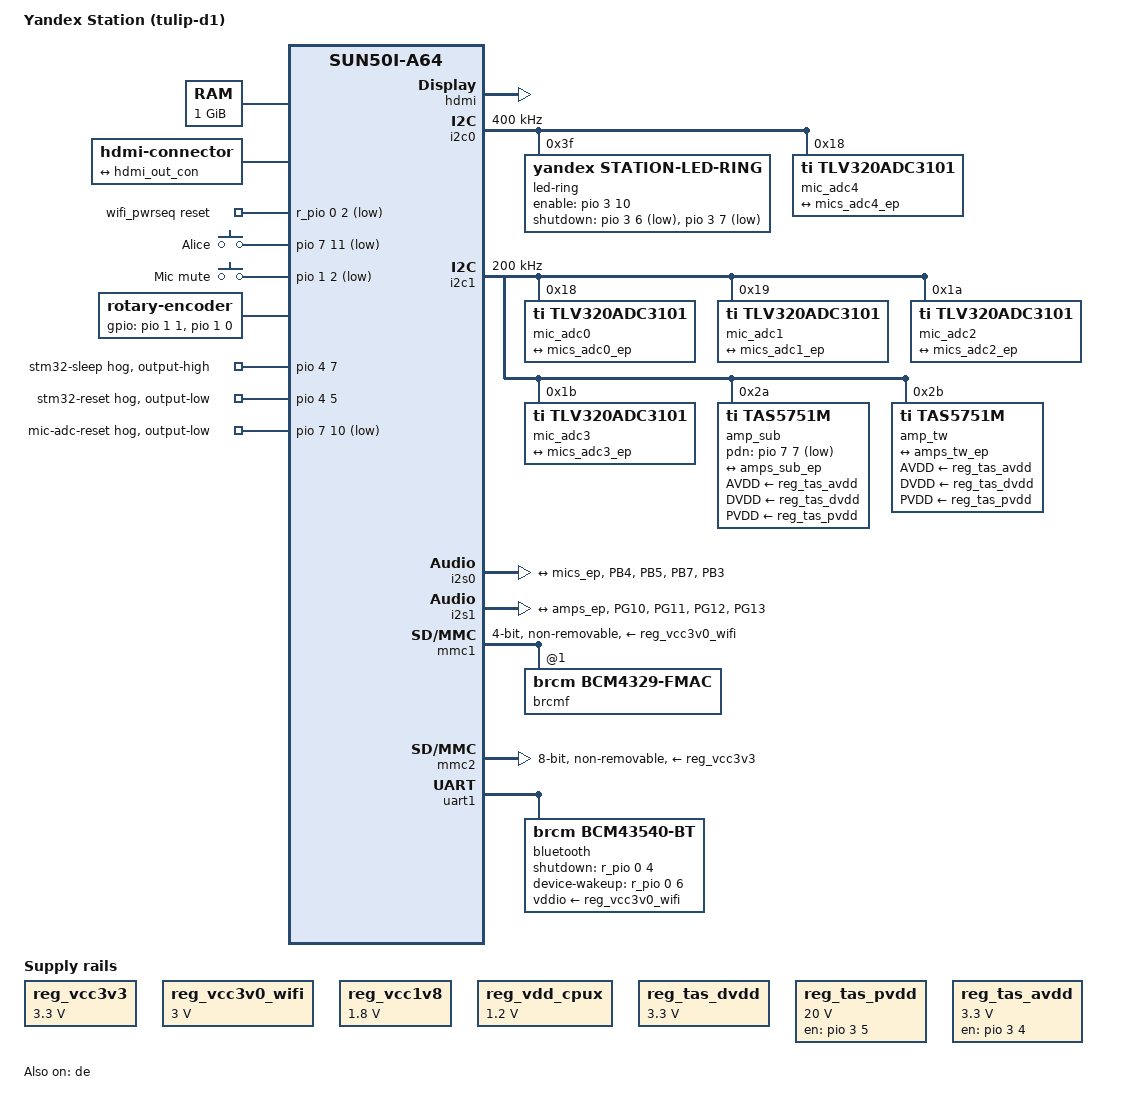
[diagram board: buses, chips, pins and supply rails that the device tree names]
// SPDX-License-Identifier: (GPL-2.0+ OR MIT)
/*
 * Yandex Station (tulip-d1), Allwinner A64.
 * Bring-up stage A: eMMC only. The PMIC is deliberately not described, so the
 * kernel never touches the voltages vendor U-Boot has set up.
 *
 * wf2 integration: the track DTS pieces (rtc, cpufreq, wifi, bluetooth,
 * leds-keys, audio, pmic, quasar-compat) merged on top of station-e1.dts.
 * Every piece is behind a WF2_* switch so the lead can build the test
 * batches of wf2/PLAN.md from this one file (wf2/integ/mkvariants.sh).
 * Pieces that need the wf2 Image (rtc-sun6i built in) are marked.
 */
/dts-v1/;

#include "sun50i-a64.dtsi"

#include <dt-bindings/gpio/gpio.h>
#include <dt-bindings/input/input.h>
#include <dt-bindings/interrupt-controller/irq.h>
#include <dt-bindings/sound/tlv320adc3xxx.h>

/* ---- switches (defaults = PLAN.md batch "full") ---- */
#ifndef WF2_SMP
#define WF2_SMP		0	/* 0: maxcpus=1 in bootargs (first SCP-channel tests) */
#endif
#ifndef WF2_RTC
#define WF2_RTC		1	/* needs the wf2 Image (RTC_DRV_SUN6I=y) */
#endif
#ifndef WF2_THERMAL
#define WF2_THERMAL	1
#endif
#ifndef WF2_CPUFREQ
#define WF2_CPUFREQ	1	/* 0 none, 1 cpufreq-dt at fixed 1.20 V, 2 SCP DVFS node */
#endif
#ifndef WF2_WIFI
#define WF2_WIFI	0	/* 0 E1 (HS 50 MHz), 2 SDR50 100, 3 SDR104 100, 4 SDR104 150 */
#endif
#ifndef WF2_WIFI_PHASE
#define WF2_WIFI_PHASE	0	/* 0 = driver default; 90/180/270 needs wifi patch 0001 */
#endif
#ifndef WF2_WIFI_ID
#define WF2_WIFI_ID	1	/* MAC + RU/261 ccode-map */
#endif
#ifndef WF2_WIFI_OOB
#define WF2_WIFI_OOB	0
#endif
#ifndef WF2_BT
#define WF2_BT		2	/* 0 none, 1 tty + rfkill (Quasar), 2 serdev no LPM, 3 serdev LPM */
#endif
#ifndef WF2_BT_LPO
#define WF2_BT_LPO	0	/* RTC LOSC_OUT as BT LPO, needs WF2_RTC */
#endif
#ifndef WF2_LEDS_KEYS
#define WF2_LEDS_KEYS	1
#endif
#ifndef WF2_AUDIO
#define WF2_AUDIO	1
#endif
#ifndef WF2_PMIC
#define WF2_PMIC	1	/* 0 none, 1 node + always-on rails, no consumers (pmic1) */
#endif
#ifndef WF2_QUASAR
#define WF2_QUASAR	0	/* 1: /firmware/android node (Quasar-mode DTB) */
#endif

#if WF2_BT_LPO && !WF2_RTC
#error "WF2_BT_LPO needs WF2_RTC"
#endif
#if WF2_WIFI_OOB && !WF2_WIFI_ID
#error "WF2_WIFI_OOB is written on top of WF2_WIFI_ID"
#endif

/ {
	model = "Yandex Station (tulip-d1)";
	compatible = "yandex,station-tulip-d1", "allwinner,sun50i-a64";

	aliases {
		mmc0 = &mmc2;
		/* vendor bus numbers: Quasar maind opens /dev/i2c-0, monitord /dev/i2c-1 */
		i2c0 = &i2c0;
		i2c1 = &i2c1;
#if WF2_BT
		serial1 = &uart1;
#endif
	};

	/*
	 * Console goes to HDMI (fbcon); UART is not reachable and its pins may be
	 * wired to something else. clk_ignore_unused keeps clocks the vendor
	 * ATF/SCP rely on (bus-msgbox and bus-spinlock have no Linux consumer).
	 * maxcpus=1 stays for the batches that call the synchronous SCP channel
	 * for the first time: with one CPU a hang in EL3 stops every feeder of
	 * the WDT (watchdogd feeds it before userspace, HANDLE_BOOT_ENABLED=y).
	 * watchdog.stop_on_reboot=0 keeps the WDT running across kexec, so a
	 * kexec'd kernel that hangs still falls back to Android.
	 * hw_protection=reboot: a critical thermal trip resets through the WDT
	 * instead of PSCI SYSTEM_OFF (unsafe on this board, E2).
	 */
	/*
	 * selinux=0 for Debian: SELinux is built in only for the Quasar mode
	 * (WF2_QUASAR), whose Android userspace loads its own policy. dtc does
	 * not concatenate adjacent strings, so every combination is spelled out.
	 */
	chosen {
#if WF2_SMP && WF2_QUASAR
		bootargs = "console=tty0 consoleblank=0 fbcon=font:TER16x32 video=HDMI-A-1:1920x1080@60 panic=5 loglevel=7 clk_ignore_unused hw_protection=reboot watchdog.stop_on_reboot=0 rdinit=/init";
#elif WF2_SMP
		bootargs = "console=tty0 consoleblank=0 fbcon=font:TER16x32 video=HDMI-A-1:1920x1080@60 panic=5 loglevel=7 clk_ignore_unused hw_protection=reboot watchdog.stop_on_reboot=0 selinux=0 rdinit=/init";
#elif WF2_QUASAR
		bootargs = "console=tty0 consoleblank=0 fbcon=font:TER16x32 video=HDMI-A-1:1920x1080@60 panic=5 loglevel=7 clk_ignore_unused maxcpus=1 hw_protection=reboot watchdog.stop_on_reboot=0 rdinit=/init";
#else
		bootargs = "console=tty0 consoleblank=0 fbcon=font:TER16x32 video=HDMI-A-1:1920x1080@60 panic=5 loglevel=7 clk_ignore_unused maxcpus=1 hw_protection=reboot watchdog.stop_on_reboot=0 selinux=0 rdinit=/init";
#endif
	};

#if WF2_QUASAR
	/*
	 * Android 6 init (Allwinner build of AOSP M) turns every property here
	 * into ro.boot.<name>, like androidboot.<name>= on the cmdline. Our shim
	 * replaces the vendor FDT (and with it U-Boot's androidboot.hardware=),
	 * so the Quasar/Android ramdisk would not find init.sun50iw1p1.rc
	 * without it. No kernel driver binds to this node. (quasar-compat)
	 */
	firmware {
		android {
			compatible = "android,firmware";
			hardware = "sun50iw1p1";
		};
	};
#endif

	memory@40000000 {
		device_type = "memory";
		reg = <0x40000000 0x40000000>;
	};

	reserved-memory {
		#address-cells = <1>;
		#size-cells = <1>;
		ranges;

		/* vendor ATF (BL31 "monitor", PSCI provider) lives below the kernel */
		bl31@40000000 {
			reg = <0x40000000 0x80000>;
			no-map;
		};

		/* /memreserve/ in the vendor DTB: memory shared with ATF/SCP */
		vendor@48000000 {
			reg = <0x48000000 0x1000000>;
			no-map;
		};

		/* the shim leaves its PMIC (RSB) results here; own 2 MiB block */
		shimlog@4e400000 {
			reg = <0x4e400000 0x1000>;
			no-map;
		};
	};

	hdmi-connector {
		compatible = "hdmi-connector";
		type = "a";

		port {
			hdmi_con_in: endpoint {
				remote-endpoint = <&hdmi_out_con>;
			};
		};
	};

	/*
	 * AP6356S WL_REG_ON, same wiring as the A64 Pinebook. With the RTC
	 * driver the module's 32 kHz LPO (RTC LOSC output, vendor wlan
	 * clocks = "losc_out", as on the BananaPi M64) is held here, so the gate
	 * stays open while the card is powered. (rtc)
	 */
	wifi_pwrseq: wifi-pwrseq {
		compatible = "mmc-pwrseq-simple";
		reset-gpios = <&r_pio 0 2 GPIO_ACTIVE_LOW>; /* PL2 */
#if WF2_RTC
		clocks = <&rtc CLK_OSC32K_FANOUT>;
		clock-names = "ext_clock";
#endif
		post-power-on-delay-ms = <200>;
	};

	/* placeholders only: no PMIC access */
	reg_vcc3v3: vcc3v3 {
		compatible = "regulator-fixed";
		regulator-name = "vcc3v3";
		regulator-min-microvolt = <3300000>;
		regulator-max-microvolt = <3300000>;
		regulator-always-on;
	};

	/* AXP803 DLDO4: Wi-Fi VDDIO and port G, 3.0 V from the vendor boot */
	reg_vcc3v0_wifi: vcc3v0-wifi {
		compatible = "regulator-fixed";
		regulator-name = "vcc3v0-wifi";
		regulator-min-microvolt = <3000000>;
		regulator-max-microvolt = <3000000>;
		regulator-always-on;
	};

	reg_vcc1v8: vcc1v8 {
		compatible = "regulator-fixed";
		regulator-name = "vcc1v8";
		regulator-min-microvolt = <1800000>;
		regulator-max-microvolt = <1800000>;
		regulator-always-on;
	};

#if WF2_WIFI >= 2
	/*
	 * NOT a real rail: the SDIO "1.8 V signalling" level as seen by the
	 * MMC core. Port G and the AP6356S VDDIO both stay on DLDO4 at 3.0 V,
	 * exactly like the vendor kernel (no vqmmc for sdc1, its driver logs
	 * "no vqmmc,Check if there is regulator" and lets UHS go on with
	 * dldo4 = 3.0 V, sdmmc1_mod 300 MHz = 150 MHz SDR104). It only lets
	 * the core finish CMD11 and select SDR50/SDR104. Never replace it with
	 * the real DLDO4 regulator (pmic stage 3a): the core would then drop
	 * port G (UART1 BT, I2S1, SDIO) and the module VDDIO to 1.8 V. (wifi)
	 */
	reg_vqmmc_wifi: vqmmc-wifi-virtual {
		compatible = "regulator-fixed";
		regulator-name = "vqmmc-wifi-virtual";
		regulator-min-microvolt = <1800000>;
		regulator-max-microvolt = <1800000>;
		vin-supply = <&reg_vcc3v0_wifi>;
		regulator-always-on;
	};
#endif

#if WF2_CPUFREQ == 1
	/*
	 * cpufreq stage 1: cpufreq-dt + mainline CCU (PLL_CPUX), no PMIC access.
	 * vdd-cpux is AXP803 DCDC2, owned by the vendor SCP; vendor U-Boot leaves
	 * it at 1.20 V (raw 0x21 = 0xc6, shim log). It is described as a fixed
	 * 1.20 V placeholder, so nothing is ever written to the PMIC. Every OPP
	 * carries <vendor-voltage vendor-voltage 1.30 V>: the OPP core disables
	 * an OPP whose range does not contain the fixed 1.20 V
	 * (drivers/opp/core.c:2093, drivers/regulator/core.c:3519-3523).
	 * Only vendor frequency points (vendor DTB cpufreq_tbl). (cpufreq)
	 * Never boot this after the SCP DVFS kernel (WF2_CPUFREQ 2) without a
	 * WDT reset in between, unless that kernel left 1008 MHz / 1.20 V.
	 */
	reg_vdd_cpux: vdd-cpux {
		compatible = "regulator-fixed";
		regulator-name = "vdd-cpux";
		regulator-min-microvolt = <1200000>;
		regulator-max-microvolt = <1200000>;
		regulator-always-on;
	};

	cpu_opp_table: opp-table-cpu {
		compatible = "operating-points-v2";
		opp-shared;

		opp-480000000 {
			opp-hz = /bits/ 64 <480000000>;
			opp-microvolt = <1040000 1040000 1300000>;
			clock-latency-ns = <244144>; /* 8 32k periods */
		};

		opp-600000000 {
			opp-hz = /bits/ 64 <600000000>;
			opp-microvolt = <1040000 1040000 1300000>;
			clock-latency-ns = <244144>;
		};

		opp-720000000 {
			opp-hz = /bits/ 64 <720000000>;
			opp-microvolt = <1100000 1100000 1300000>;
			clock-latency-ns = <244144>;
		};

		opp-816000000 {
			opp-hz = /bits/ 64 <816000000>;
			opp-microvolt = <1100000 1100000 1300000>;
			clock-latency-ns = <244144>;
		};

		opp-1008000000 {
			opp-hz = /bits/ 64 <1008000000>;
			opp-microvolt = <1200000 1200000 1300000>;
			clock-latency-ns = <244144>;
		};
	};
#elif WF2_CPUFREQ == 2
	/*
	 * cpufreq stage 2: DVFS by the vendor SCP (sun50i-a64-scp-cpufreq
	 * module), as the vendor 3.10 kernel does it (SMC 0xc0000030). No
	 * operating-points-v2 here, so cpufreq-dt does not bind. (cpufreq)
	 */
	scp-dvfs {
		compatible = "allwinner,sun50i-a64-scp-dvfs";
		allwinner,ccu = <&ccu>;
	};
#endif

#if WF2_BT == 1
	/* BT_REG_ON as an rfkill switch for a userspace BT stack on /dev/ttyS1 */
	rfkill-bt {
		compatible = "rfkill-gpio";
		label = "bt_reg_on";
		radio-type = "bluetooth";
		shutdown-gpios = <&r_pio 0 4 GPIO_ACTIVE_HIGH>; /* PL4 */
		default-blocked;
	};
#endif

#if WF2_LEDS_KEYS
	/*
	 * Alice button and mic mute state. Vendor Android reads these pins
	 * through /sys/class/gpio (rc.local exports 235 and 34); while this
	 * driver is bound that export fails with EBUSY. (leds-keys)
	 * PB2 polarity measured under Android (HARDWARE.md): 1 = mics on,
	 * 0 = muted, so SW_MUTE_DEVICE (1 = muted) is active low.
	 */
	gpio-keys {
		compatible = "gpio-keys";

		key-alice {
			label = "Alice";
			gpios = <&pio 7 11 GPIO_ACTIVE_LOW>; /* PH11 */
			linux,code = <KEY_ASSISTANT>;
			debounce-interval = <20>;
		};

		/* TLV_MIC_EN_DET: output of the hardware mute flip-flop */
		switch-mic-mute {
			label = "Mic mute";
			gpios = <&pio 1 2 GPIO_ACTIVE_LOW>; /* PB2 */
			linux,input-type = <EV_SW>;
			linux,code = <SW_MUTE_DEVICE>;
			debounce-interval = <20>;
		};
	};

	/* volume ring: INCREAS_CODE_KEY_1 (PB1) = A, INCREAS_CODE_KEY_2 (PB0) = B */
	rotary-encoder {
		compatible = "rotary-encoder";
		gpios = <&pio 1 1 GPIO_ACTIVE_HIGH>, <&pio 1 0 GPIO_ACTIVE_HIGH>;
		linux,axis = <REL_DIAL>;
		rotary-encoder,relative-axis;
		rotary-encoder,encoding = "gray";
		rotary-encoder,steps-per-period = <4>;
	};
#endif

#if WF2_PMIC
	/*
	 * AXP803 behind the vendor BL31: SMC 0x8000ff12/13 -> SCP -> R_RSB
	 * (driver axp20x-atf, module). No interrupt: the PMIC IRQ belongs to the
	 * SCP. The rails are described, consumers still use the fixed
	 * placeholders above (pmic stage 1; stages 3a/3b are NOT merged: 3a
	 * would put the real DLDO4 into the Wi-Fi vqmmc). (pmic)
	 */
	axp803: pmic {
		compatible = "allwinner,sun50i-a64-atf-axp803";

		/*
		 * Every rail that is on after the vendor boot, pinned to the
		 * voltage it already has and always-on: registering it reads the
		 * enable bit and the selector and writes nothing. Check the values
		 * against the axp803-atf-peek snapshot before loading the driver.
		 */
		regulators {
			/* must match reg 0x3b[3:0]: 1800 + 150 * n kHz (n = 8) */
			x-powers,dcdc-freq = <3000>;

			/* vcc-io, eMMC VCC, port D (vendor regulator1) */
			reg_dcdc1: dcdc1 {
				regulator-name = "vcc-3v3";
				regulator-always-on;
				regulator-min-microvolt = <3300000>;
				regulator-max-microvolt = <3300000>;
			};

			/*
			 * CPU. The SCP firmware owns this one (SMC 0xc0000030 DVFS):
			 * Linux never writes it, and it must not be cpu-supply.
			 */
			reg_dcdc2: dcdc2 {
				regulator-name = "vdd-cpux";
				regulator-always-on;
				regulator-min-microvolt = <1040000>;
				regulator-max-microvolt = <1300000>;
			};

			/* DRAM, 0x24 = 0xb3 */
			reg_dcdc5: dcdc5 {
				regulator-name = "vcc-dram";
				regulator-always-on;
				regulator-min-microvolt = <1500000>;
				regulator-max-microvolt = <1500000>;
			};

			reg_dcdc6: dcdc6 {
				regulator-name = "vdd-sys";
				regulator-always-on;
				regulator-min-microvolt = <1100000>;
				regulator-max-microvolt = <1100000>;
			};

			/* port L: R_RSB pins, WL_REG_ON, BT control lines */
			reg_aldo2: aldo2 {
				regulator-name = "vcc-pl";
				regulator-always-on;
				regulator-min-microvolt = <3300000>;
				regulator-max-microvolt = <3300000>;
			};

			reg_aldo3: aldo3 {
				regulator-name = "vcc-pll-avcc";
				regulator-always-on;
				regulator-min-microvolt = <3000000>;
				regulator-max-microvolt = <3000000>;
			};

			/* HDMI, 0x12 bit 3 set after the vendor boot */
			reg_dldo1: dldo1 {
				regulator-name = "vcc-hdmi";
				regulator-always-on;
				regulator-min-microvolt = <3300000>;
				regulator-max-microvolt = <3300000>;
			};

			/* Wi-Fi/BT VDDIO and port G, enabled by the shim, 0x18 = 0x17 */
			reg_dldo4: dldo4 {
				regulator-name = "vcc-wifi-io";
				regulator-always-on;
				regulator-min-microvolt = <3000000>;
				regulator-max-microvolt = <3000000>;
			};

			/* eMMC VCCQ and port C */
			reg_eldo1: eldo1 {
				regulator-name = "vcc-pc";
				regulator-always-on;
				regulator-min-microvolt = <1800000>;
				regulator-max-microvolt = <1800000>;
			};

			/* R domain and the AR100 (SCP) itself */
			reg_fldo2: fldo2 {
				regulator-name = "vdd-cpus";
				regulator-always-on;
				regulator-min-microvolt = <1100000>;
				regulator-max-microvolt = <1100000>;
			};

			reg_rtc_ldo: rtc-ldo {
				regulator-name = "vcc-rtc";
				regulator-always-on;
				regulator-min-microvolt = <3000000>;
				regulator-max-microvolt = <3000000>;
			};
		};
	};
#endif

#if WF2_AUDIO
	/*
	 * Sound, laid out like the vendor kernel so that Yandex Quasar finds
	 * its devices by number (quasar.cfg audiod: mics on card 2 device 0,
	 * the echo reference on card 4 device 1 = snd-aloop index=4):
	 *   card 1 "snddaudio1": I2S1 -> 2x TAS5751M (playback)
	 *   card 2 "snddaudio0": I2S0 <- 5x TLV320ADC3101 (TDM capture)
	 * Card numbers are pinned with linux,snd-card-index (soc-core patch);
	 * keep this node order (speakers first) for kernels without it. (audio)
	 * NOTE: regulator-fixed (built in) drives PD5 and PD4 low when it
	 * registers, at every boot with this DTB, before any audio module.
	 */

	/* "TAS_DVDD_3V3" in the vendor DTB: no enable line */
	reg_tas_dvdd: regulator-tas-dvdd {
		compatible = "regulator-fixed";
		regulator-name = "tas-dvdd";
		regulator-min-microvolt = <3300000>;
		regulator-max-microvolt = <3300000>;
		regulator-always-on;
	};

	/*
	 * "TAS_PVDD" 20 V power stage supply, PD5 high = on. Listed before
	 * AVDD: regulator-fixed drives its line low when it registers, so
	 * PVDD is dropped before AVDD (best effort, DT order).
	 */
	reg_tas_pvdd: regulator-tas-pvdd {
		compatible = "regulator-fixed";
		regulator-name = "tas-pvdd";
		regulator-min-microvolt = <20000000>;
		regulator-max-microvolt = <20000000>;
		gpio = <&pio 3 5 GPIO_ACTIVE_HIGH>; /* PD5 */
		enable-active-high;
	};

	/* "TAS_AVDD_3V3", PD4 high = on; the vendor driver waits 100 ms */
	reg_tas_avdd: regulator-tas-avdd {
		compatible = "regulator-fixed";
		regulator-name = "tas-avdd";
		regulator-min-microvolt = <3300000>;
		regulator-max-microvolt = <3300000>;
		gpio = <&pio 3 4 GPIO_ACTIVE_HIGH>; /* PD4 */
		enable-active-high;
		startup-delay-us = <100000>;
	};

	/*
	 * I2S1 -> both amplifiers on one data line (PG12), audio-graph-card2
	 * "semi-multi" 1:2 link, SoC provides BCLK/LRCK, no MCLK pin.
	 */
	sound-speakers {
		compatible = "audio-graph-card2";
		label = "snddaudio1";
		linux,snd-card-index = <1>;
		links = <&i2s1_port>;

		multi {
			#address-cells = <1>;
			#size-cells = <0>;

			ports@0 {
				reg = <0>;
				#address-cells = <1>;
				#size-cells = <0>;

				port@0 {
					reg = <0>;
					amps_ep: endpoint {
						remote-endpoint = <&i2s1_ep>;
					};
				};

				port@1 {
					reg = <1>;
					amps_sub_ep: endpoint {
						remote-endpoint = <&amp_sub_ep>;
					};
				};

				port@2 {
					reg = <2>;
					amps_tw_ep: endpoint {
						remote-endpoint = <&amp_tw_ep>;
					};
				};
			};
		};
	};

	/*
	 * I2S0 <- five ADCs on one 3-stated data line (PB7). Bus frame as the
	 * vendor kernel: 8 slots x 32 bit, 16 kHz, BCLK 4.096 MHz = 256 fs,
	 * PCM mode, RX offset 1, BCLK and LRCK polarity bits set (dsp_a +
	 * bitclock-inversion on sun8i-i2s). Every 32-bit slot carries one ADC:
	 * bits 31..16 its right channel, bits 15..0 its left one, so the
	 * ADCs see 16 slots of 16 bit. Capture 5 x S32_LE (slots 0-4).
	 */
	sound-mics {
		compatible = "audio-graph-card2";
		label = "snddaudio0";
		linux,snd-card-index = <2>;
		links = <&i2s0_port>;

		multi {
			#address-cells = <1>;
			#size-cells = <0>;

			ports@0 {
				reg = <0>;
				#address-cells = <1>;
				#size-cells = <0>;

				port@0 {
					reg = <0>;
					mics_ep: endpoint {
						remote-endpoint = <&i2s0_ep>;
					};
				};

				port@1 {
					reg = <1>;
					mics_adc0_ep: endpoint {
						remote-endpoint = <&adc0_ep>;
					};
				};

				port@2 {
					reg = <2>;
					mics_adc1_ep: endpoint {
						remote-endpoint = <&adc1_ep>;
					};
				};

				port@3 {
					reg = <3>;
					mics_adc2_ep: endpoint {
						remote-endpoint = <&adc2_ep>;
					};
				};

				port@4 {
					reg = <4>;
					mics_adc3_ep: endpoint {
						remote-endpoint = <&adc3_ep>;
					};
				};

				port@5 {
					reg = <5>;
					mics_adc4_ep: endpoint {
						remote-endpoint = <&adc4_ep>;
					};
				};
			};
		};
	};
#endif
};

&de {
	status = "okay";
};

#if WF2_RTC
/* hvcc is AXP803 DLDO1 (3.3 V), already on from the vendor boot; CEC from the RTC osc32k (dtsi) */
&hdmi {
	hvcc-supply = <&reg_vcc3v3>;
	status = "okay";
};
#else
/*
 * hvcc is AXP803 DLDO1 (3.3 V), already on from the vendor boot.
 * The CEC clock normally comes from the RTC, whose driver is not enabled
 * yet; without a provider dw-hdmi defers its bind forever. CEC is unused,
 * so point it at the fixed 32 kHz placeholder instead.
 */
&hdmi {
	clocks = <&ccu CLK_BUS_HDMI>, <&ccu CLK_HDMI_DDC>,
		 <&ccu CLK_HDMI>, <&osc32k>;
	hvcc-supply = <&reg_vcc3v3>;
	status = "okay";
};
#endif

&hdmi_out {
	hdmi_out_con: endpoint {
		remote-endpoint = <&hdmi_con_in>;
	};
};

/* vendor: twi0 400 kHz (LED drivers, mic ADC 4), twi1 200 kHz (mic ADCs 0-3, amplifiers) */
&i2c0 {
	pinctrl-names = "default";
	pinctrl-0 = <&i2c0_pins>;
	clock-frequency = <400000>;
	status = "okay";

#if WF2_LEDS_KEYS
	/*
	 * 2x SN3236 (IS31FL3236 clone, AD = VCC -> 0x3f, AD = GND -> 0x3c).
	 * The driver owns PD10/PD6/PD7 while bound; unbind it before running
	 * vendor software that drives the chips through /dev/i2c-0.
	 * No light sensor node: 0x53 does not answer on this board
	 * (HARDWARE.md, i2cdetect under Android 2026-10-23). (leds-keys)
	 */
	led-ring@3f {
		compatible = "yandex,station-led-ring";
		reg = <0x3f>, <0x3c>;
		reg-names = "leds1-12", "leds13-24";
		enable-gpios = <&pio 3 10 GPIO_ACTIVE_HIGH>;	/* PD10 SN3236_VCC_ENABLE */
		shutdown-gpios = <&pio 3 6 GPIO_ACTIVE_LOW>,	/* PD6 SDB */
				 <&pio 3 7 GPIO_ACTIVE_LOW>;	/* PD7 SDB */
	};
#endif

#if WF2_AUDIO
	/*
	 * TLV320ADC3101 i2c0 0x18: TDM slot 4 (32-bit CPU slot), both inputs reference taps (PGA 0.5 dB).
	 * Clocked from BCLK (no clocks property); reset line PH10 released by a hog in &pio.
	 */
	mic_adc4: audio-codec@18 {
		compatible = "ti,tlv320adc3101";
		reg = <0x18>;
		#sound-dai-cells = <0>;
		sound-name-prefix = "ADC4";
		/* vendor i2c_ma: P1 R51 = 0x50 */
		ti,micbias1-vg = <ADC3XXX_MICBIAS_2_5V>;
		ti,micbias2-vg = <ADC3XXX_MICBIAS_2_5V>;
		/* vendor i2c_ma: P0 R29 D3 = 1 (BCLK inverted), P0 R38 D4 = 1. Needs
		 * allwinner,edge-transfer on &i2s0 as the vendor: without it the MSB of
		 * every word is read on its transition (-6 dBFS noise). */
		ti,invert-bclk;
		ti,swap-channels;

		port {
			adc4_ep: endpoint {
				remote-endpoint = <&mics_adc4_ep>;
				dai-tdm-slot-num = <16>;
				dai-tdm-slot-width = <16>;
				dai-tdm-slot-rx-mask = <0 0 0 0 0 0 0 0 1 1>;
			};
		};
	};
#endif
};

&i2c1 {
	pinctrl-names = "default";
	pinctrl-0 = <&i2c1_pins>;
	clock-frequency = <200000>;
	status = "okay";

#if WF2_AUDIO
	/*
	 * TLV320ADC3101 i2c1 0x18: TDM slot 0 (32-bit CPU slot), two microphones (PGA 20 dB).
	 * Clocked from BCLK (no clocks property); reset line PH10 released by a hog in &pio.
	 */
	mic_adc0: audio-codec@18 {
		compatible = "ti,tlv320adc3101";
		reg = <0x18>;
		#sound-dai-cells = <0>;
		sound-name-prefix = "ADC0";
		ti,micbias1-vg = <ADC3XXX_MICBIAS_2_5V>;
		ti,micbias2-vg = <ADC3XXX_MICBIAS_2_5V>;
		ti,invert-bclk;
		ti,swap-channels;

		port {
			adc0_ep: endpoint {
				remote-endpoint = <&mics_adc0_ep>;
				dai-tdm-slot-num = <16>;
				dai-tdm-slot-width = <16>;
				dai-tdm-slot-rx-mask = <1 1>;
			};
		};
	};

	/* TLV320ADC3101 i2c1 0x19: TDM slot 1, two microphones */
	mic_adc1: audio-codec@19 {
		compatible = "ti,tlv320adc3101";
		reg = <0x19>;
		#sound-dai-cells = <0>;
		sound-name-prefix = "ADC1";
		ti,micbias1-vg = <ADC3XXX_MICBIAS_2_5V>;
		ti,micbias2-vg = <ADC3XXX_MICBIAS_2_5V>;
		ti,invert-bclk;
		ti,swap-channels;

		port {
			adc1_ep: endpoint {
				remote-endpoint = <&mics_adc1_ep>;
				dai-tdm-slot-num = <16>;
				dai-tdm-slot-width = <16>;
				dai-tdm-slot-rx-mask = <0 0 1 1>;
			};
		};
	};

	/* TLV320ADC3101 i2c1 0x1a: TDM slot 2, two microphones */
	mic_adc2: audio-codec@1a {
		compatible = "ti,tlv320adc3101";
		reg = <0x1a>;
		#sound-dai-cells = <0>;
		sound-name-prefix = "ADC2";
		ti,micbias1-vg = <ADC3XXX_MICBIAS_2_5V>;
		ti,micbias2-vg = <ADC3XXX_MICBIAS_2_5V>;
		ti,invert-bclk;
		ti,swap-channels;

		port {
			adc2_ep: endpoint {
				remote-endpoint = <&mics_adc2_ep>;
				dai-tdm-slot-num = <16>;
				dai-tdm-slot-width = <16>;
				dai-tdm-slot-rx-mask = <0 0 0 0 1 1>;
			};
		};
	};

	/* TLV320ADC3101 i2c1 0x1b: TDM slot 3, left microphone, right reference tap */
	mic_adc3: audio-codec@1b {
		compatible = "ti,tlv320adc3101";
		reg = <0x1b>;
		#sound-dai-cells = <0>;
		sound-name-prefix = "ADC3";
		ti,micbias1-vg = <ADC3XXX_MICBIAS_2_5V>;
		ti,micbias2-vg = <ADC3XXX_MICBIAS_2_5V>;
		ti,invert-bclk;
		ti,swap-channels;

		port {
			adc3_ep: endpoint {
				remote-endpoint = <&mics_adc3_ep>;
				dai-tdm-slot-num = <16>;
				dai-tdm-slot-width = <16>;
				dai-tdm-slot-rx-mask = <0 0 0 0 0 0 1 1>;
			};
		};
	};

	/*
	 * TAS5751M 0x2a "Subwoofer" (PBTL mono) and 0x2b "Tweeters" (stereo
	 * BTL). Tuning from /lib/firmware/tas5751m-2{a,b}.txt (tas571x patch).
	 * PDN (PH7) is wired to 0x2a only in the vendor DTB; nRST (PH8) is not
	 * driven by the vendor, left alone.
	 */
	amp_sub: amplifier@2a {
		compatible = "ti,tas5751m";
		reg = <0x2a>;
		#sound-dai-cells = <0>;
		sound-name-prefix = "Subwoofer";
		firmware-name = "tas5751m-2a.txt";
		clocks = <&i2s0>;
		clock-names = "mclk";
		pdn-gpios = <&pio 7 7 GPIO_ACTIVE_LOW>; /* PH7 */
		AVDD-supply = <&reg_tas_avdd>;
		DVDD-supply = <&reg_tas_dvdd>;
		PVDD-supply = <&reg_tas_pvdd>;

		port {
			amp_sub_ep: endpoint {
				remote-endpoint = <&amps_sub_ep>;
			};
		};
	};

	amp_tw: amplifier@2b {
		compatible = "ti,tas5751m";
		reg = <0x2b>;
		#sound-dai-cells = <0>;
		sound-name-prefix = "Tweeters";
		firmware-name = "tas5751m-2b.txt";
		clocks = <&i2s0>;
		clock-names = "mclk";
		AVDD-supply = <&reg_tas_avdd>;
		DVDD-supply = <&reg_tas_dvdd>;
		PVDD-supply = <&reg_tas_pvdd>;

		port {
			amp_tw_ep: endpoint {
				remote-endpoint = <&amps_tw_ep>;
			};
		};
	};
#endif
};

#if WF2_AUDIO
/*
 * Mic capture: PB4 LRCK, PB5 BCLK, PB7 DIN. The ADCs run from BCLK.
 * PB3 is the MCLK of both amplifiers (vendor: I2S0 MCLK = PLL_AUDIO,
 * the TAS5751M reads 512 fs; without it they stay silent), so I2S0 also
 * provides it as a clock that stays on without a capture stream.
 * 256 fs at 48 kHz = 12.288 MHz works as well and is a standard mclk-fs
 * (768) for the 16 kHz capture, which shares the divider. PB6 (DOUT)
 * stays a GPIO input: the ADCs receive nothing.
 * Bus timing as the vendor (FMT0 0x...ff): BCLK inverted, data on the
 * other edge (EDGE_TRANSFER); without the latter the MSB of every word
 * is read on its transition.
 */
&i2s0 {
	pinctrl-names = "default";
	pinctrl-0 = <&i2s0_rx_pins>, <&i2s0_mclk_pin>;
	#clock-cells = <0>;
	clock-output-names = "i2s0-mclk";
	assigned-clocks = <&i2s0>;
	assigned-clock-rates = <12288000>;
	allwinner,edge-transfer;
	status = "okay";

	i2s0_port: port {
		i2s0_ep: endpoint {
			remote-endpoint = <&mics_ep>;
			dai-format = "dsp_a";
			bitclock-inversion;
			bitclock-master;
			frame-master;
			/* MCLK 12.288 MHz, the amplifiers' MCLK, see above */
			mclk-fs = <768>;
			dai-tdm-slot-num = <8>;
			dai-tdm-slot-width = <32>;
		};
	};
};

/*
 * speakers: PG10 LRCK, PG11 BCLK, PG12 DOUT, PG13 DIN (vendor "daudio1").
 * Data on the other BCLK edge as the vendor (FMT0 0x1f3f).
 */
&i2s1 {
	pinctrl-names = "default";
	pinctrl-0 = <&i2s1_pins>;
	allwinner,edge-transfer;
	status = "okay";

	i2s1_port: port {
		i2s1_ep: endpoint {
			remote-endpoint = <&amps_ep>;
			dai-format = "i2s";
			bitclock-master;
			frame-master;
			mclk-fs = <256>;
			/* vendor: 2 x 32-bit slots, BCLK = 64 fs */
			dai-tdm-slot-num = <2>;
			dai-tdm-slot-width = <32>;
		};
	};
};
#endif

/*
 * AP6356S (BCM4356) over SDIO. Port G is powered by AXP803 DLDO4 (3.0 V,
 * already on from the vendor boot) and stays there. With WF2_WIFI >= 2 UHS
 * runs with 3.0 V pads as on the vendor kernel (see reg_vqmmc_wifi). The
 * card has no 3.2-3.4 V window (vendor settles on 2.8-2.9 V), so vmmc must
 * be described as the real 3.0 V. (wifi)
 */
&mmc1 {
	pinctrl-names = "default";
	pinctrl-0 = <&mmc1_pins>;
	vmmc-supply = <&reg_vcc3v0_wifi>;
#if WF2_WIFI >= 2
	vqmmc-supply = <&reg_vqmmc_wifi>;
#else
	vqmmc-supply = <&reg_vcc3v0_wifi>;
#endif
	mmc-pwrseq = <&wifi_pwrseq>;
	bus-width = <4>;
	non-removable;
	/*
	 * vendor sdc1: max-frequency 150 MHz, sd-uhs-sdr50/ddr50/sdr104.
	 * No DDR50: sunxi-mmc does not handle UHS DDR50 clocking. No tuning:
	 * the sample point is fixed (NTSR phase).
	 */
#if WF2_WIFI == 2
	sd-uhs-sdr50;
	max-frequency = <100000000>;
#elif WF2_WIFI == 3
	sd-uhs-sdr50;
	sd-uhs-sdr104;
	max-frequency = <100000000>;
#elif WF2_WIFI == 4
	sd-uhs-sdr50;
	sd-uhs-sdr104;
	max-frequency = <150000000>;
#else
	max-frequency = <50000000>;
#endif
#if WF2_WIFI_PHASE
	allwinner,uhs-sample-phase = <WF2_WIFI_PHASE>;
#endif
	status = "okay";

	brcmf: wifi@1 {
		reg = <1>;
		compatible = "brcm,bcm4329-fmac";
#if WF2_WIFI_ID
		/* vendor bcmdhd config.txt: ccode=RU regrev=261, DE/7, US/1 */
		brcm,ccode-map = "RU-RU-261", "DE-DE-7", "US-US-1";
		/*
		 * No local-mac-address: every Station has its own, init sets the
		 * one Android uses (/etc/station/wifi-mac). Without it the firmware
		 * takes the AMPAK sample address 00:90:4c:1a:10:01 from nvram.txt.
		 */
#endif
#if WF2_WIFI_OOB
		/*
		 * WL_HOST_WAKE on PL3 (vendor wlan_hostwake, idle low). brcmfmac
		 * programs the polarity into the chip (SEPINT_ACT_HI for HIGH).
		 * nvram has muxenab=0x10 (AMPAK: OOB on HOST_WAKE).
		 */
		interrupt-parent = <&r_pio>;
		interrupts = <0 3 IRQ_TYPE_LEVEL_HIGH>;	/* PL3 */
		interrupt-names = "host-wake";
#endif
	};
};

#if WF2_WIFI >= 2
/* vendor sdc1@0: PG0-PG5 drive level 3 (40 mA), pull-up */
&mmc1_pins {
	drive-strength = <40>;
};
#endif

&mmc2 {
	pinctrl-names = "default";
	pinctrl-0 = <&mmc2_pins>;
	vmmc-supply = <&reg_vcc3v3>;
	vqmmc-supply = <&reg_vcc1v8>;
	bus-width = <8>;
	max-frequency = <52000000>;
	non-removable;
	status = "okay";
};

#if WF2_BT
/* vendor uart1@0: PG6-PG9, mux 2, allwinner,pull = <1> */
&uart1_pins {
	bias-pull-up;
};

&uart1_rts_cts_pins {
	bias-pull-up;
};

/*
 * Bluetooth half of the AP6356S (BCM4356, BT core "4354A2") on UART1.
 * Vendor: bt_rst_n PL4 = module BT_REG_ON, btlpm bt_wake PL6 (active high),
 * bt_hostwake PL5 (EINT, active high), uart_index 1, I/O from vcc-wifi-io.
 * UART1 runs from APB2 = 24 MHz: 1.5 Mbaud is the highest exact rate.
 * WF2_BT 1: plain /dev/ttyS1 + rfkill (vendor Bluedroid / Quasar mode).
 * WF2_BT 2/3: serdev + hci_bcm (BlueZ); /dev/ttyS1 does not exist then.
 * (bluetooth)
 */
&uart1 {
	pinctrl-names = "default";
	pinctrl-0 = <&uart1_pins>, <&uart1_rts_cts_pins>;
	uart-has-rtscts;
	status = "okay";

#if WF2_BT >= 2
	bluetooth {
		compatible = "brcm,bcm43540-bt";
		max-speed = <1500000>;
		vddio-supply = <&reg_vcc3v0_wifi>;
		shutdown-gpios = <&r_pio 0 4 GPIO_ACTIVE_HIGH>; /* PL4 */
		device-wakeup-gpios = <&r_pio 0 6 GPIO_ACTIVE_HIGH>; /* PL6 */
#if WF2_BT == 3
		/*
		 * With CONFIG_PM hci_bcm requests this IRQ, sends the sleep-mode
		 * VSC (host_wake_active = 1 for a rising edge) and runtime-suspends
		 * after 5 s idle (BT_WAKE low, RTS deasserted).
		 */
		interrupt-parent = <&r_pio>;
		interrupts = <0 5 IRQ_TYPE_EDGE_RISING>; /* PL5 */
		interrupt-names = "host-wakeup";
#endif
#if WF2_BT_LPO
		/*
		 * RTC LOSC_OUT, shared with the Wi-Fi LPO; wifi_pwrseq holds it
		 * too, so powering BT down does not gate the Wi-Fi LPO.
		 */
		clocks = <&rtc CLK_OSC32K_FANOUT>;
		clock-names = "lpo";
#endif
	};
#endif
};
#endif

&{/timer} {
	clock-frequency = <24000000>;
};

/*
 * The vendor ATF does PSCI (CPU_ON/OFF, SYSTEM_RESET/OFF) and its PMIC calls
 * through the SCP over this mailbox; the mainline driver would reset its
 * registers.
 */
&msgbox {
	status = "disabled";
};

/*
 * R_INTC is the interrupt controller of the AR100 (SCP). The vendor SCP
 * firmware keeps its own IRQ enables in R_INTC IRQ_ENABLE0 (0x01f00c40;
 * msgbox = bit 17, read-modify-write, no shadow copy), while irq-sun6i-r
 * writes 0x00000001 there at init and other values on shutdown. That
 * leaves the SCP deaf to the mailbox, so the ATF's CPU_ON request is never
 * served (CPU1-3 "failed to come online") and SYSTEM_RESET never resets.
 *
 * For the GIC SPIs below R_INTC is only a pass-through (it adds wakeup
 * support, which we do not use), so keep its driver away from the
 * hardware and route them to the GIC directly.
 */
&r_intc {
	status = "disabled";
};

&pio {
	interrupt-parent = <&gic>;

#if WF2_LEDS_KEYS
	/*
	 * Stop the STM32 boot animation from the first moment, as the vendor
	 * rc.local does (gpio135 "STOP MCU LED animation", gpio133 "MCU halt"):
	 * otherwise the MCU keeps drawing into the SN3236s and the ring flickers
	 * between its frames and ours. Verified 2026-10-24: PE7 = 1 + PE5 = 0
	 * freezes the animation, although the AXP803 ALDO1 bit for vcc-pe reads 0.
	 */
	stm32-sleep-hog {
		gpio-hog;
		gpios = <4 7 GPIO_ACTIVE_HIGH>;		/* PE7 */
		output-high;
		line-name = "stm32-sleep";
	};

	stm32-reset-hog {
		gpio-hog;
		gpios = <4 5 GPIO_ACTIVE_HIGH>;		/* PE5, NRST held low */
		output-low;
		line-name = "stm32-reset";
	};
#endif

#if WF2_AUDIO
	/*
	 * PH10 resets all five TLV320ADC3101s at once. One hog releases it
	 * (vendor rc.local pulses it low once at boot); the driver then
	 * software-resets each chip (P0 R1). Per-node reset-gpios cannot
	 * work: without CONFIG_RESET_GPIO (no #gpio-cells = 3 support) every
	 * node would request the same GPIO and four would fail with -EBUSY.
	 */
	mic-adc-reset-hog {
		gpio-hog;
		gpios = <7 10 GPIO_ACTIVE_LOW>;		/* PH10, nRESET */
		output-low;				/* deasserted: line high */
		line-name = "mic-adc-reset";
	};

	i2s0_rx_pins: i2s0-rx-pins {
		pins = "PB4", "PB5", "PB7";
		function = "i2s0";
	};

	/* I2S0 MCLK, wired to the MCLK pins of both TAS5751M */
	i2s0_mclk_pin: i2s0-mclk-pin {
		pins = "PB3";
		function = "i2s0";
	};

	i2s1_pins: i2s1-pins {
		pins = "PG10", "PG11", "PG12", "PG13";
		function = "i2s1";
	};
#endif
};

&r_pio {
	interrupt-parent = <&gic>;
};

#if WF2_RTC
/*
 * The vendor kernel leaves LOSC_CTRL = 0x9 (external crystal, drive GSM = 2)
 * and the LOSC output on (Wi-Fi/BT LPO). rtc-sun6i is patched to keep the
 * GSM bits, so it writes nothing to LOSC_CTRL here. It must stay enabled
 * together with its driver (RTC_DRV_SUN6I=y): the CCU, pio and r_ccu take
 * osc32k/iosc from it, and a driverless node stalls them in fw_devlink.
 * The vendor Android kernel (rtc-sunxi, "allwinner,sun50i-rtc") counts the
 * YEAR field from 2010; use the same base so both see the same date. (rtc)
 */
&rtc {
	interrupt-parent = <&gic>;
	allwinner,rtc-year-base = <2010>;
};
#else
/*
 * No RTC driver: rtc-sun6i (unpatched) rewrites LOSC_CTRL without keeping
 * the crystal drive bits; with the node enabled but driverless, fw_devlink
 * holds the CCU until the 10 s deferred-probe timeout.
 */
&rtc {
	interrupt-parent = <&gic>;
	status = "disabled";
};
#endif

&lradc {
	interrupt-parent = <&gic>;
};

#if WF2_THERMAL
/*
 * Thermal. The vendor throttles on max(CPU, GPU0, GPU1) (vendor DTB
 * thermal_sensor/combine0: combine_type "max"; trips 65/80/90/100 C
 * passive, 110 C critical). sun50i-a64.dtsi maps CPU cooling to cpu_alert0
 * (75 C, passive) and cpu_alert1 (90 C), but cpu_alert1 is type "hot" and
 * step_wise skips hot trips (drivers/thermal/gov_step_wise.c:133-135): make
 * it passive. The GPU sensors sit on the same die and the GPU is idle here;
 * give them a passive trip on the CPU cooling device too. (cpufreq)
 */
&cpu_alert1 {
	type = "passive";
};

&gpu0_thermal {
	trips {
		gpu0_alert: gpu0-alert {
			temperature = <90000>;
			hysteresis = <2000>;
			type = "passive";
		};
	};

	cooling-maps {
		map0 {
			trip = <&gpu0_alert>;
			cooling-device = <&cpu0 THERMAL_NO_LIMIT THERMAL_NO_LIMIT>,
					 <&cpu1 THERMAL_NO_LIMIT THERMAL_NO_LIMIT>,
					 <&cpu2 THERMAL_NO_LIMIT THERMAL_NO_LIMIT>,
					 <&cpu3 THERMAL_NO_LIMIT THERMAL_NO_LIMIT>;
		};
	};
};

&gpu1_thermal {
	trips {
		gpu1_alert: gpu1-alert {
			temperature = <90000>;
			hysteresis = <2000>;
			type = "passive";
		};
	};

	cooling-maps {
		map0 {
			trip = <&gpu1_alert>;
			cooling-device = <&cpu0 THERMAL_NO_LIMIT THERMAL_NO_LIMIT>,
					 <&cpu1 THERMAL_NO_LIMIT THERMAL_NO_LIMIT>,
					 <&cpu2 THERMAL_NO_LIMIT THERMAL_NO_LIMIT>,
					 <&cpu3 THERMAL_NO_LIMIT THERMAL_NO_LIMIT>;
		};
	};
};
#endif

#if WF2_CPUFREQ == 1
&cpu0 {
	operating-points-v2 = <&cpu_opp_table>;
	cpu-supply = <&reg_vdd_cpux>;
};

&cpu1 {
	operating-points-v2 = <&cpu_opp_table>;
	cpu-supply = <&reg_vdd_cpux>;
};

&cpu2 {
	operating-points-v2 = <&cpu_opp_table>;
	cpu-supply = <&reg_vdd_cpux>;
};

&cpu3 {
	operating-points-v2 = <&cpu_opp_table>;
	cpu-supply = <&reg_vdd_cpux>;
};
#endif
